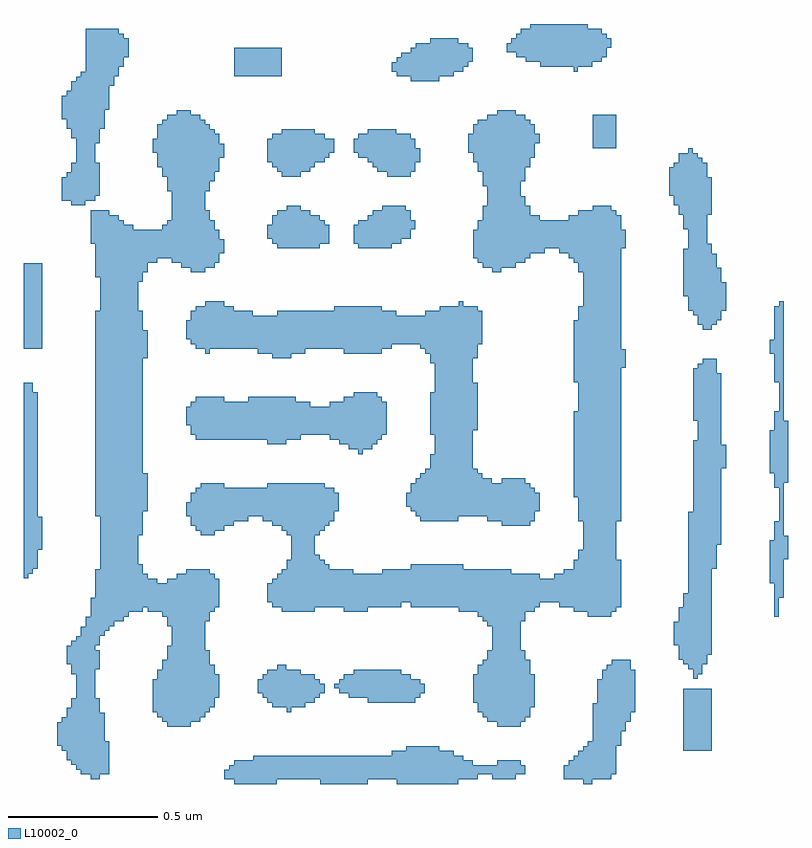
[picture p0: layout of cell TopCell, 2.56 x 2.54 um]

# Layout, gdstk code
import gdstk
lib = gdstk.Library(unit=1e-6, precision=1e-09)
def R(c, l, rs):  # rectangles x0, y0, x1, y1
    for r in rs: c.add(gdstk.rectangle(r[:2], r[2:], *l))
L10002_0 = (10002, 0)

topcell = lib.new_cell('TopCell')
R(topcell, L10002_0, [(1.728,1.024,1.871,1.04), (2.016,1.024,2.175,1.04), (2.272,1.024,2.479,1.04), (2.896,1.024,2.927,1.04), (1.248,1.04,1.279,1.056), (1.696,1.04,2.543,1.071), (2.592,1.04,2.671,1.056), (2.832,1.04,2.991,1.087), (1.216,1.056,1.311,1.072), (2.543,1.056,2.703,1.071), (2.991,1.056,3.007,1.087), (1.712,1.071,2.703,1.087), (1.2,1.072,1.311,1.088), (1.728,1.087,2.527,1.103), (2.608,1.087,2.687,1.103), (2.848,1.087,3.007,1.103), (1.184,1.088,1.311,1.104), (1.792,1.103,2.495,1.119), (2.864,1.103,3.007,1.119), (1.168,1.104,1.311,1.136), (2.256,1.119,2.463,1.135), (2.88,1.119,3.007,1.135), (2.304,1.135,2.415,1.151), (2.896,1.135,3.007,1.151), (1.152,1.136,1.311,1.152), (3.232,1.136,3.327,1.343), (2.912,1.151,3.007,1.167), (1.136,1.152,1.311,1.167), (3.007,1.152,3.023,1.167), (1.136,1.167,1.295,1.231), (2.928,1.167,3.023,1.295), (3.023,1.2,3.039,1.295), (1.504,1.216,1.583,1.232), (2.608,1.216,2.687,1.232), (1.152,1.231,1.295,1.247), (1.488,1.232,1.615,1.248), (2.576,1.232,2.703,1.248), (3.039,1.232,3.055,1.295), (1.168,1.247,1.295,1.263), (1.472,1.248,1.631,1.264), (2.56,1.248,2.719,1.264), (1.168,1.263,1.279,1.279), (1.456,1.264,1.647,1.375), (1.904,1.264,1.919,1.28), (2.544,1.264,2.719,1.296), (3.055,1.264,3.071,1.295), (1.184,1.279,1.279,1.311), (1.647,1.28,1.663,1.375), (1.856,1.28,1.967,1.296), (2.719,1.28,2.735,1.296), (2.944,1.295,3.071,1.375), (1.84,1.296,1.999,1.312), (2.176,1.296,2.335,1.312), (2.528,1.296,2.735,1.391), (1.2,1.311,1.263,1.392), (1.663,1.312,1.679,1.375), (1.824,1.312,2.015,1.328), (2.112,1.312,2.351,1.328), (1.808,1.328,2.031,1.359), (2.08,1.328,2.367,1.344), (2.064,1.344,2.367,1.359), (1.808,1.359,2.015,1.375), (2.08,1.359,2.351,1.375), (1.472,1.375,1.679,1.391), (1.824,1.375,1.999,1.391), (2.096,1.375,2.319,1.391), (2.96,1.375,3.071,1.407), (3.264,1.376,3.279,1.408), (1.472,1.391,1.663,1.407), (1.84,1.391,1.951,1.407), (2.128,1.391,2.287,1.407), (2.544,1.391,2.719,1.423), (1.184,1.392,1.263,1.424), (3.279,1.392,3.295,1.408), (1.488,1.407,1.663,1.423), (1.872,1.407,1.903,1.423), (2.976,1.407,3.055,1.423), (1.263,1.408,1.279,1.424), (3.248,1.408,3.295,1.424), (1.488,1.423,1.647,1.439), (2.56,1.423,2.719,1.439), (2.992,1.423,3.055,1.439), (1.168,1.424,1.279,1.471), (3.232,1.424,3.311,1.44), (1.504,1.439,1.647,1.471), (2.576,1.439,2.703,1.471), (3.216,1.44,3.311,1.488), (3.311,1.456,3.327,1.488), (1.168,1.471,1.263,1.487), (1.504,1.471,1.631,1.487), (2.592,1.471,2.687,1.552), (1.184,1.487,1.263,1.503), (1.52,1.487,1.631,1.552), (1.263,1.488,1.279,1.503), (3.2,1.488,3.327,1.567), (1.2,1.503,1.279,1.519), (1.216,1.519,1.279,1.551), (1.279,1.52,1.295,1.551), (1.295,1.536,1.311,1.551), (1.232,1.551,1.311,1.583), (1.311,1.552,1.327,1.583), (1.504,1.552,1.631,1.584), (2.576,1.552,2.687,1.568), (3.216,1.567,3.327,1.615), (1.327,1.568,1.359,1.583), (1.631,1.568,1.647,1.584), (2.56,1.568,2.703,1.584), (1.248,1.583,1.359,1.647), (1.359,1.584,1.375,1.647), (1.488,1.584,1.647,1.6), (2.544,1.584,2.703,1.6), (2.912,1.584,2.991,1.6), (3.536,1.584,3.551,1.696), (1.375,1.6,1.423,1.647), (1.44,1.6,1.663,1.616), (1.888,1.6,1.999,1.616), (2.096,1.6,2.175,1.616), (2.48,1.6,2.735,1.616), (2.864,1.6,3.007,1.616), (3.232,1.615,3.327,1.663), (1.423,1.616,1.679,1.647), (1.856,1.616,2.287,1.632), (2.32,1.616,2.751,1.632), (2.816,1.616,3.023,1.632), (1.84,1.632,3.023,1.695), (1.264,1.647,1.679,1.695), (3.551,1.648,3.567,1.696), (3.248,1.663,3.327,1.935), (1.264,1.695,1.471,1.711), (1.504,1.695,1.679,1.711), (1.856,1.695,3.023,1.711), (3.52,1.696,3.567,1.839), (1.264,1.711,1.439,1.727), (1.536,1.711,1.663,1.727), (1.872,1.711,2.751,1.727), (2.8,1.711,3.023,1.727), (1.024,1.712,1.039,2.367), (1.264,1.727,1.423,1.743), (1.568,1.727,1.647,1.743), (1.888,1.727,2.127,1.743), (2.224,1.727,2.655,1.743), (2.832,1.727,3.023,1.743), (1.039,1.728,1.055,2.367), (1.28,1.743,1.423,1.759), (1.904,1.743,2.047,1.759), (2.32,1.743,2.495,1.759), (2.864,1.743,3.023,1.775), (1.055,1.744,1.071,2.335), (3.327,1.744,3.343,1.935), (1.28,1.759,1.407,1.92), (1.904,1.759,2.031,1.775), (1.92,1.775,2.015,1.791), (2.88,1.775,3.007,1.807), (3.567,1.776,3.583,1.839), (1.92,1.791,1.999,1.856), (2.896,1.807,3.007,1.904), (1.071,1.808,1.087,1.919), (3.343,1.824,3.359,1.935), (3.536,1.839,3.583,1.855), (3.536,1.855,3.567,1.903), (1.407,1.856,1.423,1.92), (1.616,1.856,1.663,1.872), (1.904,1.856,2.015,1.872), (1.6,1.872,1.695,1.888), (1.888,1.872,2.031,1.888), (1.584,1.888,1.727,1.92), (1.856,1.888,2.047,1.904), (2.624,1.888,2.719,1.904), (3.552,1.903,3.567,2.016), (1.727,1.904,1.775,1.92), (1.824,1.904,2.063,1.92), (2.352,1.904,2.479,1.92), (2.576,1.904,2.735,1.92), (2.88,1.904,3.023,1.984), (1.264,1.92,1.423,2.607), (1.568,1.92,2.063,1.967), (2.336,1.92,2.735,1.936), (3.264,1.935,3.359,2.175), (1.423,1.936,1.439,2.063), (2.063,1.936,2.079,1.967), (2.32,1.936,2.751,1.952), (2.304,1.952,2.751,1.999), (1.584,1.967,2.079,1.999), (2.864,1.984,3.023,2.271), (1.6,1.999,2.063,2.015), (2.32,1.999,2.735,2.015), (1.616,2.015,1.695,2.031), (1.84,2.015,2.031,2.031), (2.32,2.015,2.719,2.031), (3.536,2.016,3.567,2.064), (2.336,2.031,2.591,2.047), (2.624,2.031,2.703,2.047), (3.567,2.032,3.583,2.064), (2.352,2.047,2.559,2.063), (2.368,2.063,2.543,2.079), (3.52,2.064,3.583,2.207), (2.384,2.079,2.527,2.127), (3.359,2.08,3.375,2.159), (2.4,2.127,2.527,2.192), (2.144,2.128,2.159,2.144), (2.112,2.144,2.191,2.16), (1.84,2.16,1.903,2.176), (2.08,2.16,2.207,2.176), (3.28,2.175,3.359,2.24), (1.6,2.176,1.951,2.192), (2.048,2.176,2.223,2.192), (1.584,2.192,2.239,2.224), (2.384,2.192,2.527,2.335), (3.536,2.207,3.583,2.239), (2.527,2.208,2.543,2.335), (1.568,2.224,2.239,2.287), (3.536,2.239,3.567,2.271), (3.264,2.24,3.359,2.399), (2.88,2.271,3.023,2.368), (3.552,2.271,3.567,2.368), (1.584,2.287,1.983,2.303), (2.048,2.287,2.239,2.303), (1.6,2.303,1.695,2.319), (1.776,2.303,1.935,2.319), (2.096,2.303,2.223,2.319), (2.128,2.319,2.207,2.335), (2.4,2.335,2.543,2.367), (2.4,2.367,2.527,2.432), (2.864,2.368,3.023,2.575), (3.536,2.368,3.567,2.464), (3.264,2.399,3.343,2.415), (3.28,2.415,3.343,2.431), (3.023,2.416,3.039,2.479), (3.296,2.431,3.343,2.447), (2.384,2.432,2.527,2.464), (1.423,2.448,1.439,2.543), (1.856,2.448,1.919,2.464), (2.527,2.448,2.543,2.464), (1.632,2.464,1.647,2.48), (1.808,2.464,1.967,2.48), (2.096,2.464,2.223,2.48), (2.368,2.464,2.543,2.48), (3.52,2.464,3.567,2.511), (1.024,2.48,1.087,2.767), (1.6,2.48,2.255,2.496), (2.352,2.48,2.543,2.496), (1.584,2.496,2.559,2.512), (3.536,2.511,3.567,2.623), (1.568,2.512,2.559,2.575), (3.296,2.544,3.327,2.56), (3.28,2.56,3.343,2.592), (1.584,2.575,2.559,2.591), (2.88,2.575,3.023,2.623), (3.343,2.576,3.359,2.592), (1.584,2.591,1.791,2.607), (1.872,2.591,2.271,2.607), (2.368,2.591,2.559,2.607), (3.264,2.592,3.359,2.608), (1.28,2.607,1.407,2.72), (1.6,2.607,1.727,2.623), (2.064,2.607,2.223,2.623), (2.416,2.607,2.543,2.623), (3.248,2.608,3.375,2.656), (1.632,2.623,1.695,2.639), (2.48,2.623,2.495,2.639), (2.896,2.623,3.023,2.736), (3.552,2.623,3.567,2.639), (3.232,2.656,3.375,2.703), (3.232,2.703,3.359,2.751), (1.407,2.704,1.423,2.72), (1.264,2.72,1.423,2.832), (1.423,2.736,1.439,2.832), (1.584,2.736,1.631,2.752), (2.592,2.736,2.623,2.752), (2.88,2.736,3.023,2.768), (3.232,2.751,3.343,2.799), (1.552,2.752,1.663,2.768), (2.56,2.752,2.671,2.768), (1.439,2.768,1.471,2.832), (1.52,2.768,1.679,2.784), (2.544,2.768,2.703,2.784), (2.864,2.768,3.023,2.784), (1.471,2.784,1.679,2.832), (2.528,2.784,2.719,2.879), (2.848,2.784,3.023,2.8), (3.232,2.799,3.327,2.815), (1.679,2.8,1.695,2.832), (2.719,2.8,2.767,2.879), (2.816,2.8,3.023,2.816), (3.248,2.815,3.327,2.831), (1.872,2.816,2.015,2.832), (2.144,2.816,2.255,2.832), (2.767,2.816,3.039,2.879), (3.248,2.831,3.311,2.88), (1.248,2.832,1.695,2.847), (1.856,2.832,2.047,2.848), (2.128,2.832,2.287,2.895), (1.248,2.847,1.679,2.879), (1.84,2.848,2.047,2.895), (2.287,2.848,2.319,2.895), (1.248,2.879,1.391,2.895), (1.488,2.879,1.663,2.895), (2.544,2.879,3.023,2.911), (2.319,2.88,2.335,2.895), (3.232,2.88,3.311,2.928), (1.248,2.895,1.359,2.911), (1.504,2.895,1.663,2.911), (1.856,2.895,2.031,2.911), (2.144,2.895,2.335,2.911), (1.248,2.911,1.343,2.927), (1.52,2.911,1.647,2.943), (1.856,2.911,2.015,2.927), (2.176,2.911,2.319,2.927), (2.56,2.911,2.751,2.927), (2.848,2.911,3.023,2.927), (1.248,2.927,1.311,2.943), (1.872,2.927,1.983,2.943), (2.192,2.927,2.319,2.943), (2.56,2.927,2.719,2.959), (2.88,2.927,3.007,2.943), (3.216,2.928,3.327,2.96), (1.52,2.943,1.631,3.008), (1.904,2.943,1.951,2.959), (2.224,2.943,2.303,2.959), (2.928,2.943,2.991,2.959), (2.576,2.959,2.703,2.991), (1.184,2.96,1.231,2.976), (3.2,2.96,3.327,2.992), (1.152,2.976,1.263,3.055), (2.576,2.991,2.687,3.024), (1.263,2.992,1.279,3.055), (3.184,2.992,3.327,3.055), (1.504,3.008,1.647,3.056), (2.56,3.024,2.687,3.072), (1.647,3.04,1.663,3.056), (2.687,3.04,2.703,3.072), (1.168,3.055,1.279,3.071), (3.184,3.055,3.311,3.087), (1.488,3.056,1.663,3.088), (1.888,3.056,1.951,3.072), (2.24,3.056,2.319,3.072), (1.184,3.071,1.279,3.103), (1.663,3.072,1.679,3.088), (1.872,3.072,1.983,3.088), (2.208,3.072,2.335,3.088), (2.544,3.072,2.703,3.104), (3.2,3.087,3.311,3.103), (1.472,3.088,1.679,3.136), (1.856,3.088,1.999,3.104), (2.192,3.088,2.335,3.104), (2.703,3.088,2.719,3.104), (1.2,3.103,1.263,3.184), (3.216,3.103,3.295,3.119), (1.84,3.104,2.031,3.183), (2.176,3.104,2.351,3.12), (2.528,3.104,2.719,3.136), (3.216,3.119,3.279,3.135), (1.679,3.12,1.695,3.136), (2.031,3.12,2.047,3.183), (2.144,3.12,2.351,3.136), (2.719,3.12,2.735,3.136), (3.248,3.135,3.263,3.151), (1.456,3.136,1.695,3.167), (2.047,3.136,2.063,3.183), (2.128,3.136,2.351,3.151), (2.512,3.136,2.735,3.199), (2.128,3.151,2.335,3.183), (2.928,3.152,3.007,3.263), (1.456,3.167,1.679,3.183), (1.263,3.168,1.279,3.184), (2.735,3.168,2.751,3.199), (1.472,3.183,1.679,3.199), (1.856,3.183,2.031,3.199), (2.144,3.183,2.319,3.199), (1.184,3.184,1.279,3.216), (1.472,3.199,1.663,3.215), (1.888,3.199,1.999,3.215), (2.176,3.199,2.271,3.215), (2.528,3.199,2.735,3.231), (1.472,3.215,1.647,3.231), (1.168,3.216,1.295,3.248), (1.488,3.231,1.631,3.247), (2.544,3.231,2.719,3.247), (1.504,3.247,1.615,3.263), (2.576,3.247,2.703,3.263), (1.152,3.248,1.295,3.327), (1.536,3.263,1.583,3.279), (2.608,3.263,2.671,3.279), (1.295,3.28,1.311,3.327), (1.168,3.327,1.311,3.343), (1.184,3.343,1.311,3.375), (1.311,3.36,1.327,3.375), (1.2,3.375,1.327,3.391), (2.32,3.376,2.415,3.392), (1.216,3.391,1.327,3.407), (1.327,3.392,1.343,3.407), (1.728,3.392,1.887,3.487), (2.272,3.392,2.463,3.408), (1.232,3.407,1.343,3.551), (2.256,3.408,2.495,3.439), (2.864,3.408,2.879,3.424), (1.343,3.424,1.359,3.535), (2.495,3.424,2.511,3.439), (2.752,3.424,2.927,3.44), (2.272,3.439,2.511,3.455), (2.511,3.44,2.527,3.455), (2.704,3.44,2.959,3.456), (2.288,3.455,2.527,3.471), (1.359,3.456,1.375,3.519), (2.672,3.456,2.975,3.472), (2.32,3.471,2.527,3.487), (2.64,3.472,2.975,3.503), (2.336,3.487,2.511,3.503), (2.975,3.488,2.991,3.503), (2.384,3.503,2.479,3.519), (2.656,3.503,2.991,3.519), (2.672,3.519,2.975,3.535), (2.688,3.535,2.959,3.551), (2.72,3.551,2.911,3.567)])

lib.write_gds('TopCell.gds')
